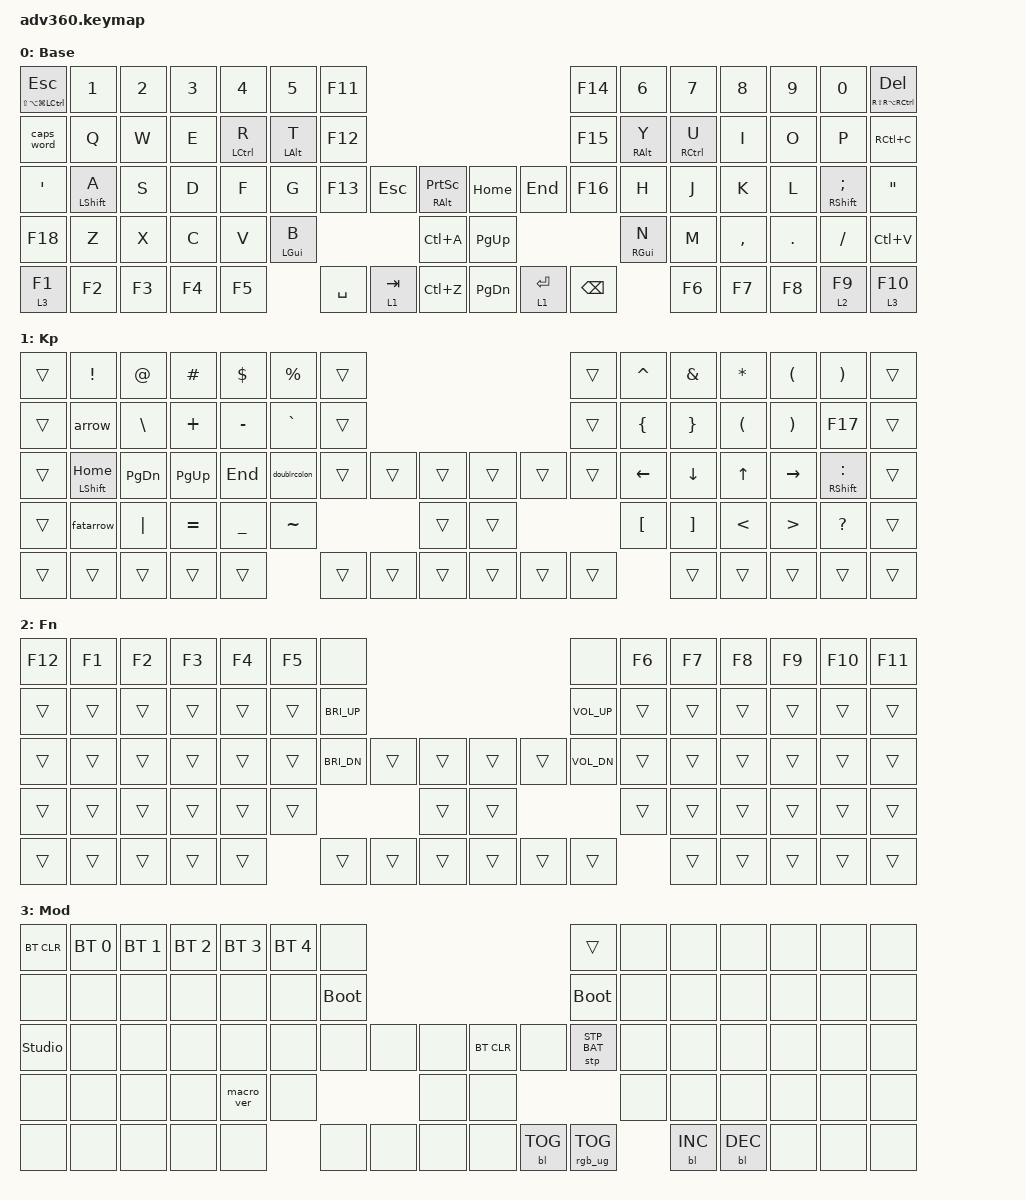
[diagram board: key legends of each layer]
#include <dt-bindings/zmk/stp.h>
#include <behaviors.dtsi>
#include <dt-bindings/zmk/backlight.h>
#include <dt-bindings/zmk/bt.h>
#include <dt-bindings/zmk/keys.h>
#include <dt-bindings/zmk/rgb.h>

/ {
    behaviors {
        #include "macros.dtsi"
      #include "version.dtsi"

        hm: homerow_mods {
            compatible = "zmk,behavior-hold-tap";
            label = "HOMEROW_MODS";
            #binding-cells = <2>;
            tapping-term-ms = <200>;
            flavor = "tap-preferred";
            bindings = <&kp>, <&kp>;

            quick-tap-ms = <175>;
        };

        hmleft: hmleft {
            compatible = "zmk,behavior-hold-tap";
            label = "HMLEFT";
            #binding-cells = <2>;
            tapping-term-ms = <200>;
            flavor = "tap-preferred";
            bindings = <&kp>, <&kp>;

            quick-tap-ms = <180>;
        };

        hmright: hmright {
            compatible = "zmk,behavior-hold-tap";
            label = "HMRIGHT";
            #binding-cells = <2>;
            tapping-term-ms = <200>;
            flavor = "tap-preferred";
            bindings = <&kp>, <&kp>;

            quick-tap-ms = <180>;
        };
    };

    combos {
        compatible = "zmk,combos";

        comboesc2 {
            bindings = <&kp ESCAPE>;
            key-positions = <32 31>;
        };

        comboesc {
            bindings = <&kp ESCAPE>;
            key-positions = <41 42>;
        };

        combokptoggle {
            bindings = <&tog 1>;
            key-positions = <66 69>;
        };

        combocapsword {
            bindings = <&caps_word>;
            key-positions = <46 59>;
        };

        del {
            bindings = <&kp DEL>;
            key-positions = <69 70>;
        };
    };

    macros {
        arrow: arrow {
            compatible = "zmk,behavior-macro";
            #binding-cells = <0>;
            bindings = <&kp MINUS &kp GT>;
            label = "ARROW";
        };

        fatarrow: fatarrow {
            compatible = "zmk,behavior-macro";
            #binding-cells = <0>;
            bindings = <&none &kp EQUAL &kp GT>;
            label = "FATARROW";
        };

        doublrcolon: doublrcolon {
            compatible = "zmk,behavior-macro";
            #binding-cells = <0>;
            bindings = <&none &kp COLON &kp COLON>;
            label = "DOUBLRCOLON";
        };
    };

    keymap {
        compatible = "zmk,keymap";

        default_layer {
            display-name = "Base";
            bindings = <
&hm LS(LA(LG(LCTRL))) ESCAPE  &kp N1            &kp N2  &kp N3  &kp N4              &kp N5          &kp F11                                                           &kp F14        &kp N6           &kp N7               &kp N8     &kp N9   &kp N0                     &hm RS(RA(RCTRL)) DEL
&caps_word                    &kp Q             &kp W   &kp E   &hm LEFT_CONTROL R  &hm LEFT_ALT T  &kp F12                                                           &kp F15        &hm RIGHT_ALT Y  &hm RIGHT_CONTROL U  &kp I      &kp O    &kp P                      &kp RC(C)
&kp APOSTROPHE                &hm LEFT_SHIFT A  &kp S   &kp D   &kp F               &kp G           &kp F13    &kp ESC    &mt RALT PSCRN      &kp HOME   &kp END      &kp F16        &kp H            &kp J                &kp K      &kp L    &hm RIGHT_SHIFT SEMICOLON  &kp DOUBLE_QUOTES
&kp F18                       &kp Z             &kp X   &kp C   &kp V               &hm LEFT_GUI B                        &kp LC(A)           &kp PG_UP                              &hm RIGHT_GUI N  &kp M                &kp COMMA  &kp DOT  &kp SLASH                  &kp LC(V)
&lt 3 F1                      &kp F2            &kp F3  &kp F4  &kp F5                              &kp SPACE  &lt 1 TAB  &kp LC(Z)           &kp PG_DN  &lt 1 ENTER  &kp BACKSPACE                   &kp F6               &kp F7     &kp F8   &lt 2 F9                   &lt 3 F10
            >;
        };

        keypad {
            display-name = "Kp";
            bindings = <
&trans  &kp EXCLAMATION      &kp AT         &kp HASH     &kp DOLLAR      &kp PERCENT   &trans                                      &trans  &kp CARET         &kp AMPERSAND      &kp ASTERISK          &kp LEFT_PARENTHESIS   &kp RIGHT_PARENTHESIS  &trans
&trans  &arrow               &kp BSLH       &kp PLUS     &kp MINUS       &kp GRAVE     &trans                                      &trans  &kp LEFT_BRACE    &kp RIGHT_BRACE    &kp LEFT_PARENTHESIS  &kp RIGHT_PARENTHESIS  &kp F17                &trans
&trans  &hm LEFT_SHIFT HOME  &kp PAGE_DOWN  &kp PAGE_UP  &kp END         &doublrcolon  &trans  &trans  &trans      &trans  &trans  &trans  &kp LEFT          &kp DOWN           &kp UP                &kp RIGHT              &hm RIGHT_SHIFT COLON  &trans
&trans  &fatarrow            &kp PIPE       &kp EQUAL    &kp UNDERSCORE  &kp TILDE                     &trans      &trans                  &kp LEFT_BRACKET  &kp RIGHT_BRACKET  &kp LESS_THAN         &kp GREATER_THAN       &kp QUESTION           &trans
&trans  &trans               &trans         &trans       &trans                        &trans  &trans  &trans      &trans  &trans  &trans                    &trans             &trans                &trans                 &trans                 &trans
            >;
        };

        fn {
            display-name = "Fn";
            bindings = <
&kp F12  &kp F1  &kp F2  &kp F3  &kp F4  &kp F5  &none                                             &none         &kp F6  &kp F7  &kp F8  &kp F9  &kp F10  &kp F11
&trans   &trans  &trans  &trans  &trans  &trans  &kp C_BRI_UP                                      &kp C_VOL_UP  &trans  &trans  &trans  &trans  &trans   &trans
&trans   &trans  &trans  &trans  &trans  &trans  &kp C_BRI_DN  &trans  &trans      &trans  &trans  &kp C_VOL_DN  &trans  &trans  &trans  &trans  &trans   &trans
&trans   &trans  &trans  &trans  &trans  &trans                        &trans      &trans                        &trans  &trans  &trans  &trans  &trans   &trans
&trans   &trans  &trans  &trans  &trans          &trans        &trans  &trans      &trans  &trans  &trans                &trans  &trans  &trans  &trans   &trans
            >;
        };

        mod {
            display-name = "Mod";
            bindings = <
&bt BT_CLR      &bt BT_SEL 0  &bt BT_SEL 1  &bt BT_SEL 2  &bt BT_SEL 3  &bt BT_SEL 4  &none                                                  &trans           &none  &none       &none       &none  &none  &none
&none           &none         &none         &none         &none         &none         &bootloader                                            &bootloader      &none  &none       &none       &none  &none  &none
&studio_unlock  &none         &none         &none         &none         &none         &none        &none  &none      &bt BT_CLR  &none       &stp STP_BAT     &none  &none       &none       &none  &none  &none
&none           &none         &none         &none         &macro_ver    &none                             &none      &none                                    &none  &none       &none       &none  &none  &none
&none           &none         &none         &none         &none                       &none        &none  &none      &none       &bl BL_TOG  &rgb_ug RGB_TOG         &bl BL_INC  &bl BL_DEC  &none  &none  &none
            >;
        };

        extra1 {
            display-name = "Red";
            status = "reserved";
        };

        extra2 {
            display-name = "Purple";
            status = "reserved";
        };

        extra3 {
            display-name = "Cyan";
            status = "reserved";
        };

        extra4 {
            display-name = "Yellow";
            status = "reserved";
        };
    };
};
